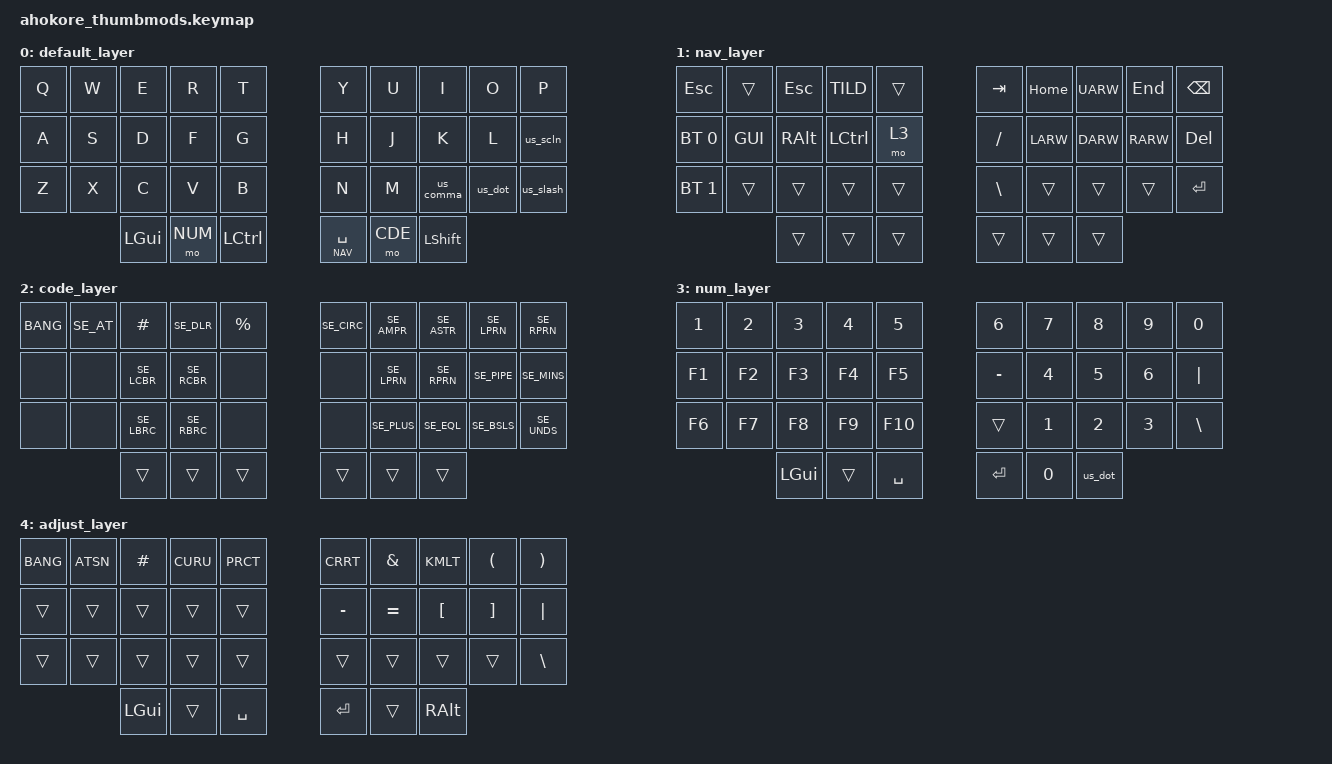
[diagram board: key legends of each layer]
/*
 * Copyright (c) 2020 The ZMK Contributors
 *
 * SPDX-License-Identifier: MIT
 */

#include <behaviors.dtsi>
#include <dt-bindings/zmk/keys.h>
#include <dt-bindings/zmk/bt.h>
#include "funberg/se_us.dtsi"

#define NAV   1
#define CDE   2
#define NUM   3

/ {
        keymap {
                compatible = "zmk,keymap";

                default_layer {
// -----------------------------------------------------------------------------------------
// |  Q  |  W  |  E  |  R  |  T   |   |  Y  |  U   |  I  |  O  |  P  |
// |  A  |  S  |  D  |  F  |  G   |   |  H  |  J   |  K  |  L  |  ;  |
// |  Z  |  X  |  C  |  V  |  B   |   |  N  |  M   |  ,  |  .  |  /  |
//             | GUI | NAV | SHFT |   | SPC | SYM  | ALT |
                        bindings = <
   &kp Q &kp W &kp E &kp R &kp T      &kp Y &kp U  &kp I    &kp O   &kp P
   &kp A &kp S &kp D &kp F &kp G      &kp H &kp J  &kp K    &kp L   &us_scln
   &kp Z &kp X &kp C &kp V &kp B      &kp N &kp M  &us_comma  &us_dot  &us_slash
          &kp LGUI &mo NUM &kp LCTL   &lt NAV SPC &mo CDE &kp LSHFT
                        >;
                };

                nav_layer {
// -----------------------------------------------------------------------------------------
// |BTCLR|     | ESC |  ~   |     |   | TAB | HOME |  UP  | END | DEL  |
// | BT1 | GUI | ALT | CTRL | NUM |   |  /  | LEFT | DOWN | RGT | BKSP |
// | BT2 |     |     |      |     |   |  \  | ENT  |      |     |      |
//             |     |      |     |   |     |      |      |
                        bindings = <
   &kp ESC   &trans  &kp ESC  &kp TILD &trans     &kp TAB  &kp HOME &kp UARW &kp END  &kp BKSP
   &bt BT_SEL 0 &kp GUI &kp RALT &kp LCTL &mo 3      &kp FSLH &kp LARW &kp DARW &kp RARW &kp DEL
   &bt BT_SEL 1 &trans  &trans   &trans   &trans     &kp BSLH &trans   &trans   &trans   &kp RET
                        &trans   &trans   &trans     &trans   &trans   &trans
                        >;
                };

                code_layer {
// -----------------------------------------------------------------------------------------
// |  !  |  @  |  #  |  $  |  %  |   |  ^  |  &  |  *  |  (  |  )  |
// |     |     |     |     |     |   |  -  |  =  |  {  |  }  | "|" |
// |     |     |     |     |     |   |  _  |  +  |  [  |  ]  |  \  |
//             | GUI |     | SPC |   | ENT |     | ALT |
                        bindings = <
   &kp BANG  &kp SE_AT &kp HASH     &kp SE_DLR   &kp PRCNT       &kp SE_CIRC  &kp SE_AMPR &kp SE_ASTR &kp SE_LPRN  &kp SE_RPRN
   &none     &none     &kp SE_LCBR  &kp SE_RCBR  &none           &none        &kp SE_LPRN &kp SE_RPRN &kp SE_PIPE  &kp SE_MINS
   &none     &none     &kp SE_LBRC  &kp SE_RBRC  &none           &none        &kp SE_PLUS &kp SE_EQL  &kp SE_BSLS  &kp SE_UNDS
                       &trans       &trans       &trans          &trans       &trans      &trans
                        >;
                };

                num_layer {
// -----------------------------------------------------------------------------------------
// |  !  |  @  |  #  |  $  |  %  |   |  ^  |  &  |  *  |  (  |  )  |
// |     |     |     |     |     |   |  -  |  =  |  {  |  }  | "|" |
// |     |     |     |     |     |   |  _  |  +  |  [  |  ]  |  \  |
//             | GUI |     | SPC |   | ENT |     | ALT |
                        bindings = <
   &kp N1    &kp N2    &kp N3    &kp N4    &kp N5      &kp N6    &kp N7   &kp N8   &kp N9   &kp N0
   &kp F1    &kp F2    &kp F3    &kp F4    &kp F5      &kp MINUS &kp N4   &kp N5   &kp N6   &kp PIPE
   &kp F6    &kp F7    &kp F8    &kp F9    &kp F10     &trans    &kp N1   &kp N2   &kp N3   &kp BSLH
                       &kp LGUI  &trans    &kp SPC     &kp RET   &kp N0   &us_dot
                        >;
                };

                adjust_layer {
// -----------------------------------------------------------------------------------------
// |  !  |  @  |  #  |  $  |  %  |   |  ^  |  &  |  *  |  (  |  )  |
// |     |     |     |     |     |   |  -  |  =  |  {  |  }  | "|" |
// |     |     |     |     |     |   |  _  |  +  |  [  |  ]  |  \  |
//             | GUI |     | SPC |   | ENT |     | ALT |
                        bindings = <
   &kp BANG  &kp ATSN  &kp HASH  &kp CURU  &kp PRCT    &kp CRRT  &kp AMPS &kp KMLT &kp LPRN &kp RPRN
   &trans    &trans    &trans    &trans    &trans      &kp MINUS &kp EQL  &kp LBKT &kp RBKT &kp PIPE
   &trans    &trans    &trans    &trans    &trans      &trans    &trans   &trans   &trans   &kp BSLH
                       &kp LGUI  &trans    &kp SPC     &kp RET   &trans   &kp RALT
                        >;
                };

              };
          };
